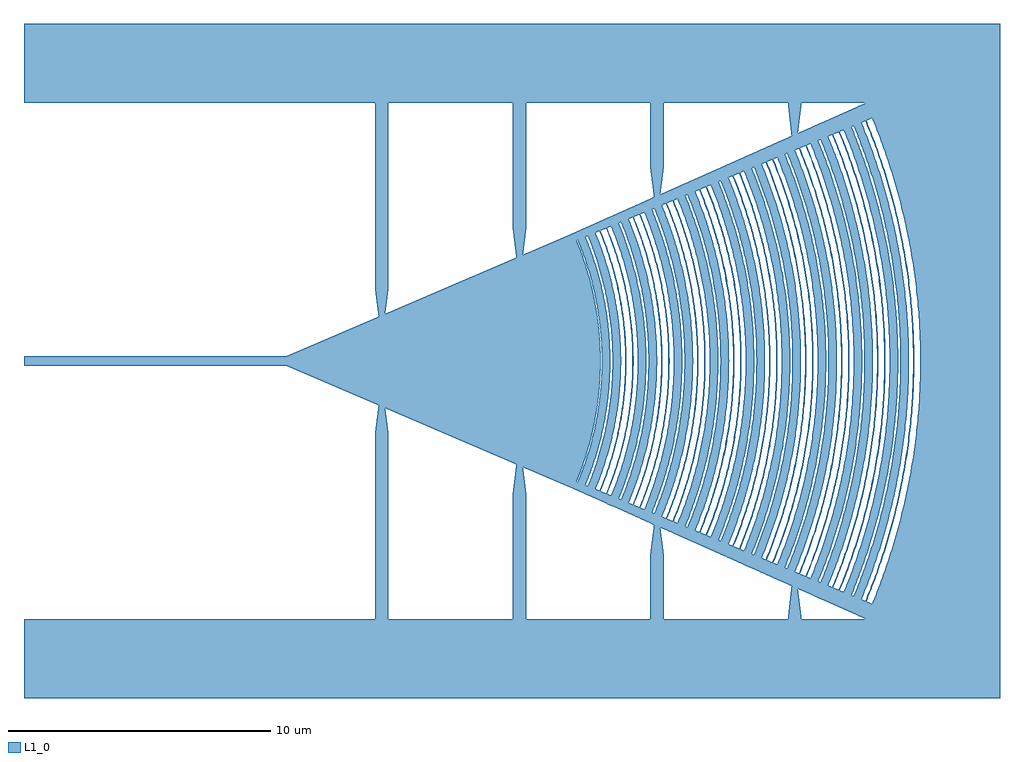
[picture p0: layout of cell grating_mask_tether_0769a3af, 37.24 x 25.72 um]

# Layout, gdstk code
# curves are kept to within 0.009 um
import gdstk
lib = gdstk.Library(unit=1e-6, precision=1e-09)
def R(c, l, rs):  # rectangles x0, y0, x1, y1
    for r in rs: c.add(gdstk.rectangle(r[:2], r[2:], *l))
def P(c, l, *ps):  # polygons
    for p in ps: c.add(gdstk.Polygon(p, *l))
L1_0 = (1, 0)

boolean_f78fcff5 = lib.new_cell('boolean_f78fcff5')
P(boolean_f78fcff5, L1_0, [(22.162,9.713),(22.64,8.54),(23.056,7.343),(23.409,6.127),(23.697,4.893),(23.921,3.646),(24.079,2.389),(24.171,1.126),(24.197,-0.141),(24.164,-1.266),(24.065,-2.529),(23.981,-3.228),(23.877,-3.924),(23.639,-5.168),(23.373,-6.263),(23.013,-7.477),(22.59,-8.671),(22.105,-9.842),(22.142,-9.858),(24.237,-9.858),(24.237,9.858),(22.142,9.858),(22.105,9.842)],
  [(21.948,-9.619),(22.218,-8.977),(22.421,-8.457),(22.612,-7.933),(22.833,-7.272),(23.035,-6.605),(23.182,-6.067),(23.349,-5.391),(23.468,-4.846),(23.599,-4.161),(23.668,-3.749),(23.767,-3.059),(23.846,-2.366),(23.905,-1.672),(23.937,-1.115),(23.959,-0.418),(23.963,0.139),(23.953,0.697),(23.914,1.532),(23.872,2.089),(23.817,2.643),(23.749,3.197),(23.646,3.886),(23.523,4.572),(23.41,5.118),(23.251,5.797),(23.11,6.337),(22.916,7.006),(22.747,7.537),(22.518,8.196),(22.321,8.718),(22.112,9.235),(21.891,9.747),(21.855,9.73),(22.128,9.091),(22.334,8.573),(22.574,7.92),(22.794,7.26),(22.918,6.861),(23.108,6.192),(23.278,5.517),(23.4,4.974),(23.535,4.291),(23.65,3.605),(23.727,3.053),(23.792,2.501),(23.854,1.808),(23.89,1.252),(23.913,0.696),(23.923,0),(23.913,-0.696),(23.89,-1.252),(23.854,-1.808),(23.792,-2.501),(23.727,-3.053),(23.65,-3.605),(23.535,-4.291),(23.428,-4.838),(23.31,-5.381),(23.178,-5.922),(22.996,-6.594),(22.836,-7.127),(22.709,-7.525),(22.432,-8.313),(22.181,-8.962),(21.855,-9.73),(21.891,-9.747)],
  [(21.763,-9.538),(22.232,-8.386),(22.467,-7.736),(22.682,-7.079),(22.987,-6.016),(23.121,-5.48),(23.298,-4.67),(23.49,-3.581),(23.645,-2.346),(23.735,-1.106),(23.761,0.138),(23.747,0.829),(23.713,1.52),(23.616,2.621),(23.469,3.717),(23.376,4.262),(23.213,5.075),(22.915,6.283),(22.598,7.343),(22.183,8.515),(21.707,9.665),(21.412,9.533),(21.68,8.906),(21.93,8.272),(22.161,7.631),(22.374,6.983),(22.604,6.198),(22.742,5.67),(22.926,4.873),(23.058,4.204),(23.229,3.127),(23.337,2.179),(23.413,1.091),(23.438,0.136),(23.419,-0.954),(23.349,-2.043),(23.229,-3.127),(23.082,-4.07),(22.954,-4.74),(22.806,-5.405),(22.64,-6.066),(22.414,-6.853),(22.205,-7.502),(21.978,-8.144),(21.68,-8.906),(21.412,-9.533),(21.707,-9.665)],
  [(21.385,-9.373),(21.847,-8.241),(22.248,-7.086),(22.588,-5.912),(22.867,-4.722),(23.018,-3.921),(23.103,-3.384),(23.235,-2.306),(23.324,-1.086),(23.349,0.136),(23.31,1.358),(23.207,2.576),(23.062,3.653),(22.839,4.855),(22.588,5.912),(22.248,7.086),(21.847,8.241),(21.598,8.873),(21.331,9.497),(21.035,9.366),(21.497,8.252),(21.772,7.497),(21.981,6.86),(22.171,6.218),(22.342,5.57),(22.495,4.918),(22.653,4.13),(22.838,2.939),(22.939,2.007),(22.995,1.205),(23.026,0.134),(23.007,-0.937),(22.95,-1.873),(22.855,-2.806),(22.699,-3.867),(22.577,-4.525),(22.436,-5.18),(22.242,-5.96),(22.059,-6.604),(21.815,-7.37),(21.591,-8.001),(21.35,-8.626),(21.035,-9.366),(21.331,-9.497)],
  [(20.942,-9.178),(21.2,-8.565),(21.393,-8.07),(21.619,-7.444),(21.786,-6.939),(21.942,-6.43),(22.12,-5.789),(22.279,-5.143),(22.392,-4.624),(22.494,-4.101),(22.583,-3.577),(22.678,-2.919),(22.753,-2.258),(22.809,-1.595),(22.84,-1.064),(22.861,-0.399),(22.864,0.133),(22.851,0.798),(22.826,1.33),(22.789,1.86),(22.725,2.522),(22.642,3.182),(22.562,3.708),(22.444,4.363),(22.337,4.884),(22.217,5.402),(22.051,6.046),(21.866,6.685),(21.704,7.192),(21.531,7.695),(21.346,8.194),(21.099,8.811),(20.888,9.3),(20.851,9.283),(21.062,8.796),(21.356,8.055),(21.581,7.431),(21.748,6.927),(21.903,6.419),(22.081,5.779),(22.209,5.264),(22.326,4.745),(22.43,4.225),(22.522,3.702),(22.602,3.177),(22.685,2.518),(22.749,1.857),(22.786,1.327),(22.811,0.797),(22.824,0.133),(22.821,-0.398),(22.8,-1.062),(22.769,-1.592),(22.713,-2.254),(22.638,-2.913),(22.564,-3.439),(22.478,-3.963),(22.353,-4.615),(22.209,-5.264),(22.081,-5.779),(21.94,-6.291),(21.788,-6.8),(21.581,-7.431),(21.356,-8.055),(21.062,-8.796),(20.851,-9.283),(20.888,-9.3)],
  [(20.69,-9.068),(20.896,-8.584),(21.137,-7.973),(21.316,-7.479),(21.525,-6.856),(21.715,-6.227),(21.854,-5.72),(21.951,-5.337),(22.097,-4.697),(22.224,-4.052),(22.312,-3.534),(22.422,-2.753),(22.48,-2.231),(22.526,-1.707),(22.566,-1.051),(22.587,-0.394),(22.59,0.131),(22.581,0.657),(22.552,1.314),(22.504,1.969),(22.452,2.492),(22.388,3.014),(22.312,3.534),(22.224,4.052),(22.097,4.697),(21.951,5.337),(21.786,5.974),(21.603,6.605),(21.444,7.106),(21.272,7.603),(21.09,8.096),(20.896,8.584),(20.637,9.188),(20.6,9.172),(20.858,8.569),(21.099,7.959),(21.278,7.466),(21.486,6.844),(21.64,6.342),(21.782,5.836),(21.912,5.328),(22.03,4.817),(22.136,4.303),(22.272,3.528),(22.366,2.878),(22.427,2.357),(22.486,1.704),(22.512,1.311),(22.541,0.656),(22.55,0.131),(22.547,-0.394),(22.526,-1.049),(22.486,-1.704),(22.44,-2.227),(22.398,-2.618),(22.312,-3.268),(22.23,-3.786),(22.136,-4.303),(22.03,-4.817),(21.912,-5.328),(21.782,-5.836),(21.565,-6.593),(21.364,-7.217),(21.099,-7.959),(20.858,-8.569),(20.6,-9.172),(20.637,-9.188)],
  [(20.506,-8.987),(20.948,-7.902),(21.169,-7.289),(21.372,-6.67),(21.692,-5.543),(21.926,-4.527),(22.133,-3.374),(22.222,-2.728),(22.292,-2.081),(22.37,-0.912),(22.388,0.13),(22.375,0.781),(22.343,1.432),(22.252,2.47),(22.071,3.759),(21.872,4.782),(21.626,5.795),(21.293,6.918),(20.948,7.902),(20.709,8.508),(20.453,9.106),(20.158,8.975),(20.646,7.788),(20.905,7.062),(21.063,6.574),(21.246,5.959),(21.441,5.214),(21.708,3.958),(21.851,3.071),(21.97,2.051),(22.042,1.027),(22.065,0.128),(22.042,-1.027),(21.958,-2.179),(21.814,-3.325),(21.61,-4.462),(21.471,-5.089),(21.314,-5.711),(20.986,-6.819),(20.6,-7.908),(20.158,-8.975),(20.453,-9.106)],
  [(20.128,-8.822),(20.517,-7.876),(20.737,-7.276),(20.94,-6.669),(21.16,-5.934),(21.324,-5.317),(21.548,-4.319),(21.744,-3.185),(21.869,-2.17),(21.953,-1.022),(21.976,0.128),(21.939,1.278),(21.856,2.297),(21.706,3.438),(21.496,4.569),(21.228,5.688),(20.901,6.791),(20.517,7.876),(20.076,8.939),(19.781,8.807),(20.077,8.112),(20.26,7.642),(20.474,7.05),(20.67,6.451),(20.815,5.969),(21.01,5.238),(21.154,4.625),(21.302,3.884),(21.443,3.014),(21.56,2.013),(21.624,1.133),(21.653,0.126),(21.63,-1.007),(21.548,-2.138),(21.406,-3.263),(21.206,-4.379),(21.07,-4.994),(20.916,-5.604),(20.594,-6.691),(20.215,-7.76),(19.781,-8.807),(20.076,-8.939)],
  [(19.684,-8.627),(19.927,-8.051),(20.153,-7.468),(20.321,-6.997),(20.516,-6.403),(20.659,-5.924),(20.792,-5.442),(20.913,-4.956),(21.048,-4.346),(21.187,-3.609),(21.265,-3.115),(21.332,-2.619),(21.387,-2.122),(21.44,-1.499),(21.469,-1),(21.489,-0.375),(21.492,0.125),(21.483,0.625),(21.456,1.25),(21.421,1.749),(21.361,2.371),(21.283,2.991),(21.187,3.609),(21.097,4.101),(20.996,4.591),(20.883,5.078),(20.727,5.683),(20.553,6.284),(20.401,6.76),(20.196,7.351),(20.019,7.819),(19.88,8.167),(19.634,8.742),(19.597,8.725),(19.795,8.267),(20.027,7.688),(20.242,7.102),(20.478,6.391),(20.621,5.913),(20.753,5.432),(20.902,4.826),(21.009,4.338),(21.104,3.848),(21.207,3.233),(21.292,2.614),(21.347,2.118),(21.381,1.745),(21.422,1.123),(21.443,0.624),(21.452,0),(21.443,-0.624),(21.422,-1.123),(21.381,-1.745),(21.347,-2.118),(21.292,-2.614),(21.207,-3.233),(21.104,-3.848),(21.009,-4.338),(20.902,-4.826),(20.753,-5.432),(20.621,-5.913),(20.478,-6.391),(20.242,-7.102),(20.027,-7.688),(19.795,-8.267),(19.597,-8.725),(19.634,-8.742)],
  [(19.433,-8.517),(19.626,-8.062),(19.852,-7.488),(20.062,-6.908),(20.217,-6.439),(20.396,-5.848),(20.495,-5.492),(20.646,-4.893),(20.754,-4.411),(20.851,-3.927),(20.975,-3.197),(21.044,-2.708),(21.114,-2.095),(21.166,-1.48),(21.195,-0.987),(21.212,-0.494),(21.218,0),(21.212,0.494),(21.195,0.987),(21.166,1.48),(21.114,2.095),(21.044,2.708),(20.975,3.197),(20.851,3.927),(20.754,4.411),(20.646,4.893),(20.495,5.492),(20.326,6.085),(20.179,6.557),(19.98,7.141),(19.764,7.719),(19.579,8.177),(19.383,8.63),(19.346,8.614),(19.589,8.047),(19.815,7.474),(20.024,6.895),(20.179,6.427),(20.323,5.956),(20.456,5.481),(20.578,5.004),(20.715,4.403),(20.834,3.799),(20.917,3.313),(20.988,2.825),(21.048,2.336),(21.097,1.846),(21.142,1.231),(21.172,0.493),(21.177,0.123),(21.172,-0.493),(21.16,-0.862),(21.126,-1.477),(21.074,-2.091),(21.02,-2.581),(20.936,-3.191),(20.856,-3.677),(20.74,-4.282),(20.635,-4.764),(20.518,-5.243),(20.391,-5.719),(20.216,-6.309),(20.024,-6.895),(19.815,-7.474),(19.589,-8.047),(19.346,-8.614),(19.383,-8.63)],
  [(19.248,-8.436),(19.62,-7.531),(19.831,-6.958),(20.025,-6.378),(20.331,-5.321),(20.582,-4.25),(20.776,-3.167),(20.901,-2.197),(20.987,-1.1),(21.016,0),(20.987,1.1),(20.901,2.197),(20.776,3.167),(20.582,4.25),(20.331,5.321),(20.025,6.378),(19.831,6.958),(19.62,7.531),(19.199,8.548),(18.904,8.417),(19.318,7.416),(19.68,6.394),(19.988,5.356),(20.241,4.302),(20.457,3.118),(20.592,2.043),(20.676,0.842),(20.693,0),(20.676,-0.842),(20.592,-2.043),(20.457,-3.118),(20.241,-4.302),(19.988,-5.356),(19.68,-6.394),(19.318,-7.416),(18.904,-8.417),(19.199,-8.548)],
  [(18.871,-8.271),(19.278,-7.272),(19.632,-6.253),(19.902,-5.333),(20.154,-4.284),(20.35,-3.223),(20.491,-2.154),(20.576,-1.078),(20.604,0),(20.576,1.078),(20.491,2.154),(20.35,3.223),(20.154,4.284),(19.902,5.333),(19.558,6.481),(19.192,7.496),(18.822,8.38),(18.527,8.249),(18.934,7.268),(19.288,6.267),(19.59,5.249),(19.838,4.217),(20.031,3.173),(20.17,2.12),(20.253,1.061),(20.281,0),(20.253,-1.061),(20.17,-2.12),(20.031,-3.173),(19.838,-4.217),(19.59,-5.249),(19.288,-6.267),(18.934,-7.268),(18.527,-8.249),(18.822,-8.38)],
  [(18.427,-8.076),(18.654,-7.537),(18.824,-7.101),(18.985,-6.661),(19.206,-5.994),(19.34,-5.546),(19.493,-4.981),(19.577,-4.64),(19.704,-4.068),(19.814,-3.494),(19.907,-2.916),(19.969,-2.452),(20.021,-1.987),(20.062,-1.52),(20.097,-0.936),(20.114,-0.468),(20.119,0.117),(20.111,0.585),(20.085,1.17),(20.062,1.52),(20.009,2.103),(19.939,2.684),(19.853,3.263),(19.75,3.839),(19.68,4.183),(19.55,4.754),(19.434,5.207),(19.274,5.77),(19.098,6.328),(18.946,6.771),(18.741,7.319),(18.52,7.861),(18.38,8.183),(18.343,8.167),(18.573,7.63),(18.787,7.086),(18.947,6.647),(19.132,6.094),(19.269,5.647),(19.395,5.197),(19.483,4.857),(19.616,4.289),(19.732,3.717),(19.832,3.141),(19.915,2.563),(19.969,2.099),(20.022,1.517),(20.052,1.051),(20.071,0.584),(20.079,0.117),(20.071,-0.584),(20.052,-1.051),(20.022,-1.517),(19.981,-1.983),(19.915,-2.563),(19.85,-3.026),(19.774,-3.487),(19.687,-3.946),(19.616,-4.289),(19.483,-4.857),(19.333,-5.422),(19.202,-5.871),(19.023,-6.426),(18.828,-6.977),(18.573,-7.63),(18.343,-8.167),(18.38,-8.183)],
  [(18.176,-7.966),(18.4,-7.434),(18.568,-7.004),(18.764,-6.461),(18.909,-6.022),(19.044,-5.581),(19.169,-5.136),(19.31,-4.577),(19.435,-4.013),(19.523,-3.56),(19.618,-2.99),(19.697,-2.419),(19.748,-1.959),(19.788,-1.499),(19.818,-1.039),(19.833,-0.693),(19.845,0),(19.833,0.693),(19.818,1.039),(19.779,1.614),(19.724,2.189),(19.652,2.762),(19.582,3.218),(19.502,3.673),(19.387,4.239),(19.283,4.689),(19.108,5.359),(18.978,5.802),(18.838,6.242),(18.726,6.57),(18.527,7.112),(18.312,7.648),(18.129,8.072),(18.092,8.055),(18.319,7.526),(18.53,6.99),(18.726,6.448),(18.871,6.01),(18.973,5.68),(19.13,5.126),(19.271,4.567),(19.396,4.005),(19.504,3.439),(19.579,2.984),(19.643,2.528),(19.708,1.955),(19.748,1.496),(19.783,0.921),(19.802,0.346),(19.805,0),(19.802,-0.346),(19.783,-0.921),(19.748,-1.496),(19.708,-1.955),(19.643,-2.528),(19.579,-2.984),(19.504,-3.439),(19.396,-4.005),(19.323,-4.343),(19.188,-4.903),(19.1,-5.237),(18.973,-5.68),(18.763,-6.339),(18.53,-6.99),(18.319,-7.526),(18.092,-8.055),(18.129,-8.072)],
  [(17.991,-7.885),(18.379,-6.933),(18.682,-6.07),(18.974,-5.084),(19.214,-4.084),(19.419,-2.96),(19.547,-1.94),(19.622,-0.914),(19.643,0.114),(19.61,1.142),(19.523,2.167),(19.383,3.186),(19.19,4.196),(18.974,5.084),(18.682,6.07),(18.379,6.933),(17.945,7.99),(17.65,7.858),(18.077,6.819),(18.409,5.863),(18.662,5),(18.898,4.017),(19.082,3.022),(19.214,2.02),(19.294,1.011),(19.32,0.112),(19.294,-1.011),(19.226,-1.908),(19.082,-3.022),(18.898,-4.017),(18.662,-5),(18.409,-5.863),(18.077,-6.819),(17.65,-7.858),(17.945,-7.99)],
  [(17.614,-7.72),(17.994,-6.787),(18.358,-5.73),(18.632,-4.761),(18.834,-3.889),(18.994,-3.008),(19.126,-2.01),(19.205,-1.006),(19.231,0.112),(19.205,1.006),(19.126,2.01),(18.994,3.008),(18.811,3.998),(18.576,4.977),(18.29,5.943),(17.954,6.892),(17.568,7.822),(17.273,7.691),(17.613,6.879),(17.983,5.843),(18.264,4.894),(18.472,4.039),(18.658,3.066),(18.793,2.086),(18.876,1.099),(18.908,0.11),(18.888,-0.88),(18.805,-1.976),(18.658,-3.066),(18.495,-3.931),(18.264,-4.894),(17.983,-5.843),(17.613,-6.879),(17.273,-7.691),(17.568,-7.822)],
  [(17.17,-7.525),(17.299,-7.224),(17.54,-6.616),(17.653,-6.309),(17.829,-5.793),(17.99,-5.272),(18.108,-4.852),(18.216,-4.429),(18.337,-3.898),(18.442,-3.363),(18.516,-2.933),(18.579,-2.501),(18.644,-1.959),(18.693,-1.417),(18.721,-0.981),(18.739,-0.545),(18.746,0.109),(18.739,0.545),(18.715,1.09),(18.693,1.417),(18.644,1.959),(18.579,2.501),(18.516,2.933),(18.442,3.363),(18.337,3.898),(18.216,4.429),(18.108,4.852),(17.99,5.272),(17.829,5.793),(17.653,6.309),(17.462,6.82),(17.299,7.224),(17.126,7.625),(17.089,7.608),(17.303,7.108),(17.503,6.602),(17.687,6.09),(17.857,5.573),(17.982,5.156),(18.097,4.736),(18.227,4.208),(18.32,3.783),(18.403,3.355),(18.493,2.819),(18.567,2.28),(18.604,1.955),(18.653,1.413),(18.675,1.088),(18.695,0.653),(18.706,0.109),(18.701,-0.435),(18.681,-0.979),(18.653,-1.413),(18.615,-1.847),(18.567,-2.28),(18.493,-2.819),(18.403,-3.355),(18.32,-3.783),(18.151,-4.526),(17.982,-5.156),(17.889,-5.469),(17.687,-6.09),(17.503,-6.602),(17.303,-7.108),(17.089,-7.608),(17.126,-7.625)],
  [(16.919,-7.415),(17.127,-6.92),(17.321,-6.419),(17.466,-6.014),(17.601,-5.606),(17.757,-5.092),(17.897,-4.573),(18.023,-4.051),(18.112,-3.63),(18.21,-3.102),(18.277,-2.677),(18.321,-2.358),(18.382,-1.824),(18.411,-1.503),(18.447,-0.967),(18.467,-0.43),(18.472,0.107),(18.461,0.645),(18.447,0.967),(18.411,1.503),(18.371,1.931),(18.321,2.358),(18.245,2.89),(18.153,3.419),(18.046,3.946),(17.949,4.364),(17.815,4.885),(17.665,5.401),(17.535,5.81),(17.395,6.217),(17.245,6.62),(17.087,7.019),(16.875,7.513),(16.838,7.497),(16.967,7.202),(17.208,6.605),(17.393,6.102),(17.563,5.594),(17.688,5.184),(17.804,4.771),(17.91,4.355),(18.007,3.937),(18.073,3.622),(18.188,2.989),(18.253,2.565),(18.331,1.927),(18.371,1.5),(18.407,0.965),(18.421,0.643),(18.432,0.107),(18.427,-0.429),(18.412,-0.858),(18.387,-1.286),(18.342,-1.82),(18.281,-2.353),(18.222,-2.777),(18.152,-3.201),(18.073,-3.622),(17.91,-4.355),(17.804,-4.771),(17.658,-5.286),(17.428,-6.001),(17.246,-6.505),(17.09,-6.905),(16.838,-7.497),(16.875,-7.513)],
  [(16.734,-7.334),(17.095,-6.448),(17.409,-5.545),(17.702,-4.523),(17.893,-3.695),(18.062,-2.753),(18.181,-1.804),(18.251,-0.85),(18.27,0.106),(18.233,1.168),(18.159,2.015),(18.011,3.068),(17.849,3.903),(17.648,4.729),(17.343,5.747),(17.057,6.548),(16.691,7.431),(16.396,7.3),(16.718,6.529),(17.069,5.546),(17.309,4.746),(17.533,3.834),(17.71,2.911),(17.838,1.98),(17.911,1.148),(17.947,0.104),(17.933,-0.731),(17.86,-1.772),(17.758,-2.601),(17.577,-3.629),(17.363,-4.544),(17.101,-5.447),(16.755,-6.432),(16.396,-7.3),(16.691,-7.431)],
  [(16.356,-7.169),(16.709,-6.303),(17.016,-5.42),(17.25,-4.622),(17.468,-3.713),(17.622,-2.896),(17.761,-1.867),(17.834,-0.935),(17.858,0.104),(17.834,0.935),(17.761,1.867),(17.622,2.896),(17.468,3.713),(17.25,4.622),(16.984,5.519),(16.635,6.497),(16.314,7.264),(16.019,7.132),(16.371,6.284),(16.677,5.419),(16.938,4.538),(17.131,3.746),(17.303,2.844),(17.417,2.036),(17.506,1.02),(17.535,0.102),(17.521,-0.714),(17.45,-1.731),(17.335,-2.642),(17.173,-3.546),(16.964,-4.44),(16.677,-5.419),(16.371,-6.284),(16.019,-7.132),(16.314,-7.264)],
  [(15.913,-6.974),(16.109,-6.508),(16.256,-6.132),(16.46,-5.561),(16.585,-5.176),(16.701,-4.789),(16.808,-4.399),(16.905,-4.007),(17.015,-3.513),(17.092,-3.116),(17.16,-2.718),(17.232,-2.218),(17.279,-1.816),(17.324,-1.313),(17.35,-0.909),(17.369,-0.404),(17.374,0),(17.369,0.404),(17.35,0.909),(17.324,1.313),(17.279,1.816),(17.232,2.218),(17.144,2.818),(17.055,3.315),(16.973,3.711),(16.882,4.105),(16.782,4.497),(16.615,5.08),(16.492,5.465),(16.394,5.752),(16.22,6.226),(16.032,6.695),(15.872,7.067),(15.835,7.05),(16.033,6.587),(16.254,6.023),(16.422,5.548),(16.576,5.068),(16.769,4.389),(16.843,4.096),(16.976,3.505),(17.07,3.01),(17.136,2.612),(17.192,2.212),(17.239,1.812),(17.284,1.31),(17.31,0.907),(17.329,0.403),(17.334,0),(17.329,-0.403),(17.31,-0.907),(17.284,-1.31),(17.239,-1.812),(17.192,-2.212),(17.136,-2.612),(17.07,-3.01),(16.976,-3.505),(16.843,-4.096),(16.769,-4.389),(16.576,-5.068),(16.422,-5.548),(16.254,-6.023),(16.033,-6.587),(15.835,-7.05),(15.872,-7.067)],
  [(15.661,-6.864),(15.817,-6.498),(15.964,-6.128),(16.168,-5.567),(16.293,-5.189),(16.409,-4.809),(16.517,-4.426),(16.615,-4.04),(16.726,-3.555),(16.804,-3.165),(16.889,-2.675),(16.96,-2.183),(17.006,-1.787),(17.058,-1.193),(17.081,-0.796),(17.095,-0.398),(17.099,0.1),(17.095,0.398),(17.076,0.895),(17.043,1.391),(17.006,1.787),(16.96,2.183),(16.889,2.675),(16.804,3.165),(16.726,3.555),(16.615,4.04),(16.517,4.426),(16.409,4.809),(16.293,5.189),(16.168,5.567),(15.964,6.128),(15.779,6.59),(15.621,6.955),(15.584,6.939),(15.78,6.482),(15.961,6.021),(16.13,5.554),(16.285,5.083),(16.452,4.511),(16.553,4.127),(16.707,3.45),(16.783,3.06),(16.849,2.669),(16.92,2.178),(16.966,1.783),(17.003,1.388),(17.036,0.893),(17.055,0.397),(17.059,0.099),(17.057,-0.298),(17.041,-0.794),(17.018,-1.19),(16.976,-1.684),(16.92,-2.178),(16.879,-2.472),(16.817,-2.864),(16.727,-3.352),(16.666,-3.644),(16.553,-4.127),(16.452,-4.511),(16.343,-4.893),(16.162,-5.46),(15.996,-5.928),(15.78,-6.482),(15.584,-6.939),(15.621,-6.955)],
  [(15.476,-6.783),(15.845,-5.872),(16.101,-5.128),(16.372,-4.183),(16.549,-3.417),(16.705,-2.546),(16.815,-1.669),(16.884,-0.688),(16.898,0),(16.884,0.688),(16.815,1.669),(16.705,2.546),(16.549,3.417),(16.322,4.373),(16.071,5.222),(15.775,6.056),(15.436,6.873),(15.142,6.741),(15.474,5.94),(15.793,5.03),(16.035,4.197),(16.232,3.352),(16.371,2.593),(16.494,1.637),(16.557,0.771),(16.575,0),(16.557,-0.771),(16.494,-1.637),(16.371,-2.593),(16.232,-3.352),(16.035,-4.197),(15.793,-5.03),(15.474,-5.94),(15.142,-6.741),(15.437,-6.873)],
  [(15.099,-6.618),(15.425,-5.818),(15.737,-4.912),(15.924,-4.267),(16.145,-3.334),(16.312,-2.389),(16.405,-1.628),(16.468,-0.767),(16.486,0),(16.468,0.767),(16.405,1.628),(16.312,2.389),(16.145,3.334),(15.924,4.267),(15.679,5.094),(15.391,5.908),(15.06,6.705),(14.765,6.574),(15.123,5.704),(15.372,4.995),(15.612,4.183),(15.79,3.452),(15.949,2.621),(16.064,1.783),(16.135,0.94),(16.163,0),(16.135,-0.94),(16.064,-1.783),(15.949,-2.621),(15.79,-3.452),(15.612,-4.183),(15.372,-4.995),(15.123,-5.704),(14.765,-6.574),(15.06,-6.705)],
  [(14.655,-6.423),(14.905,-5.821),(15.068,-5.385),(15.218,-4.945),(15.329,-4.589),(15.48,-4.051),(15.612,-3.509),(15.689,-3.145),(15.774,-2.687),(15.832,-2.319),(15.882,-1.95),(15.932,-1.487),(15.984,-0.745),(15.999,-0.279),(16.001,0.093),(15.988,0.652),(15.974,0.93),(15.932,1.487),(15.893,1.858),(15.832,2.319),(15.774,2.687),(15.707,3.053),(15.632,3.418),(15.548,3.781),(15.456,4.141),(15.329,4.589),(15.218,4.945),(15.068,5.385),(14.905,5.821),(14.618,6.508),(14.581,6.492),(14.764,6.065),(14.934,5.633),(15.061,5.284),(15.236,4.755),(15.343,4.399),(15.441,4.041),(15.531,3.681),(15.631,3.228),(15.702,2.863),(15.779,2.405),(15.842,1.945),(15.883,1.576),(15.922,1.113),(15.944,0.743),(15.961,0.093),(15.96,-0.186),(15.944,-0.743),(15.892,-1.484),(15.842,-1.945),(15.779,-2.405),(15.65,-3.137),(15.593,-3.409),(15.487,-3.861),(15.317,-4.489),(15.18,-4.932),(15.03,-5.372),(14.799,-5.979),(14.581,-6.492),(14.618,-6.508)],
  [(14.404,-6.313),(14.547,-5.976),(14.715,-5.55),(14.87,-5.12),(14.985,-4.773),(15.092,-4.423),(15.191,-4.07),(15.303,-3.627),(15.402,-3.18),(15.519,-2.55),(15.574,-2.189),(15.641,-1.644),(15.682,-1.188),(15.71,-0.732),(15.727,0),(15.71,0.732),(15.682,1.188),(15.641,1.644),(15.574,2.189),(15.519,2.55),(15.472,2.821),(15.383,3.27),(15.303,3.627),(15.191,4.07),(15.066,4.511),(14.957,4.86),(14.84,5.206),(14.682,5.636),(14.512,6.061),(14.367,6.397),(14.33,6.38),(14.51,5.961),(14.645,5.621),(14.772,5.279),(14.947,4.761),(15.079,4.324),(15.152,4.06),(15.264,3.618),(15.344,3.261),(15.416,2.904),(15.479,2.544),(15.534,2.183),(15.601,1.64),(15.642,1.185),(15.67,0.73),(15.686,0.091),(15.684,-0.274),(15.67,-0.73),(15.619,-1.458),(15.57,-1.912),(15.521,-2.274),(15.464,-2.634),(15.381,-3.083),(15.305,-3.44),(15.221,-3.795),(15.104,-4.236),(15.001,-4.586),(14.832,-5.107),(14.709,-5.451),(14.51,-5.961),(14.33,-6.38),(14.367,-6.397)],
  [(14.219,-6.232),(14.494,-5.564),(14.765,-4.798),(14.996,-4.018),(15.186,-3.228),(15.334,-2.429),(15.44,-1.623),(15.504,-0.812),(15.525,0.09),(15.499,0.903),(15.44,1.623),(15.334,2.429),(15.186,3.228),(14.996,4.018),(14.765,4.798),(14.494,5.564),(14.183,6.315),(13.888,6.183),(14.224,5.365),(14.458,4.698),(14.684,3.935),(14.87,3.161),(15.015,2.378),(15.119,1.589),(15.186,0.707),(15.202,0.088),(15.186,-0.707),(15.128,-1.501),(15.015,-2.378),(14.87,-3.161),(14.684,-3.935),(14.458,-4.698),(14.224,-5.365),(13.888,-6.183),(14.183,-6.315)],
  [(13.842,-6.067),(14.202,-5.169),(14.427,-4.503),(14.62,-3.827),(14.801,-3.056),(14.927,-2.364),(15.048,-1.405),(15.104,-0.527),(15.113,0.088),(15.082,0.966),(15.021,1.667),(14.913,2.451),(14.783,3.142),(14.575,3.996),(14.346,4.754),(14.109,5.416),(13.806,6.147),(13.511,6.016),(13.808,5.3),(14.066,4.57),(14.241,3.994),(14.449,3.159),(14.608,2.314),(14.7,1.632),(14.76,0.946),(14.79,0.086),(14.77,-0.774),(14.718,-1.46),(14.608,-2.314),(14.467,-3.075),(14.286,-3.828),(14.066,-4.57),(13.808,-5.3),(13.511,-6.016),(13.806,-6.147)],
  [(13.398,-5.872),(13.657,-5.242),(13.886,-4.601),(14.014,-4.195),(14.108,-3.868),(14.194,-3.539),(14.309,-3.041),(14.435,-2.372),(14.509,-1.867),(14.557,-1.444),(14.593,-1.02),(14.616,-0.596),(14.628,0.085),(14.622,0.426),(14.604,0.851),(14.573,1.275),(14.539,1.614),(14.486,2.036),(14.435,2.372),(14.375,2.708),(14.291,3.125),(14.194,3.539),(14.108,3.868),(14.014,4.195),(13.886,4.601),(13.657,5.242),(13.531,5.559),(13.364,5.95),(13.327,5.934),(13.526,5.465),(13.679,5.069),(13.821,4.669),(13.951,4.265),(14.134,3.612),(14.287,2.95),(14.352,2.617),(14.422,2.198),(14.469,1.862),(14.517,1.44),(14.564,0.848),(14.582,0.424),(14.588,0.085),(14.586,-0.255),(14.576,-0.594),(14.553,-1.018),(14.517,-1.44),(14.469,-1.862),(14.422,-2.198),(14.304,-2.867),(14.155,-3.529),(14.069,-3.858),(13.951,-4.265),(13.821,-4.669),(13.679,-5.069),(13.526,-5.465),(13.327,-5.934),(13.364,-5.95)],
  [(13.147,-5.762),(13.401,-5.144),(13.545,-4.752),(13.702,-4.277),(13.821,-3.876),(13.928,-3.472),(14.005,-3.147),(14.074,-2.821),(14.136,-2.493),(14.19,-2.163),(14.237,-1.832),(14.284,-1.417),(14.325,-0.918),(14.342,-0.584),(14.354,0.084),(14.348,0.418),(14.325,0.918),(14.292,1.334),(14.257,1.666),(14.164,2.328),(14.106,2.657),(14.023,3.066),(13.865,3.715),(13.775,4.037),(13.651,4.436),(13.545,4.752),(13.401,5.144),(13.245,5.532),(13.113,5.838),(13.076,5.822),(13.272,5.362),(13.393,5.052),(13.507,4.739),(13.664,4.264),(13.782,3.865),(13.889,3.463),(14.018,2.895),(14.082,2.568),(14.138,2.239),(14.197,1.827),(14.244,1.413),(14.29,0.832),(14.308,0.416),(14.314,0.083),(14.302,-0.583),(14.285,-0.915),(14.252,-1.33),(14.217,-1.662),(14.163,-2.075),(14.111,-2.404),(14.035,-2.813),(13.889,-3.463),(13.782,-3.865),(13.688,-4.185),(13.561,-4.581),(13.393,-5.052),(13.272,-5.362),(13.076,-5.822),(13.113,-5.838)],
  [(12.962,-5.681),(13.183,-5.149),(13.485,-4.295),(13.712,-3.504),(13.86,-2.862),(13.991,-2.133),(14.075,-1.479),(14.133,-0.741),(14.152,0.082),(14.133,0.741),(14.057,1.643),(13.965,2.295),(13.826,3.023),(13.67,3.663),(13.434,4.452),(13.183,5.149),(12.929,5.756),(12.634,5.625),(12.882,5.031),(13.102,4.426),(13.337,3.657),(13.493,3.033),(13.633,2.322),(13.736,1.606),(13.806,0.804),(13.829,0.081),(13.818,-0.563),(13.762,-1.366),(13.695,-1.925),(13.56,-2.718),(13.399,-3.424),(13.177,-4.197),(12.911,-4.956),(12.634,-5.625),(12.929,-5.756)],
  [(12.585,-5.516),(12.828,-4.924),(13.068,-4.246),(13.272,-3.556),(13.44,-2.857),(13.571,-2.149),(13.665,-1.436),(13.729,-0.559),(13.74,0.08),(13.717,0.799),(13.665,1.436),(13.571,2.149),(13.44,2.857),(13.272,3.556),(13.068,4.246),(12.828,4.924),(12.552,5.589),(12.257,5.457),(12.498,4.881),(12.736,4.22),(12.94,3.548),(13.108,2.866),(13.24,2.176),(13.327,1.558),(13.395,0.78),(13.417,0.078),(13.403,-0.624),(13.352,-1.325),(13.276,-1.945),(13.124,-2.79),(12.94,-3.548),(12.736,-4.22),(12.498,-4.881),(12.257,-5.457),(12.552,-5.589)],
  [(12.141,-5.321),(12.29,-4.966),(12.43,-4.606),(12.583,-4.17),(12.654,-3.949),(12.824,-3.356),(12.916,-2.982),(12.982,-2.681),(13.041,-2.378),(13.116,-1.921),(13.191,-1.309),(13.218,-1.002),(13.245,-0.54),(13.256,0),(13.245,0.54),(13.218,1.002),(13.191,1.309),(13.116,1.921),(13.041,2.378),(12.982,2.681),(12.916,2.982),(12.824,3.356),(12.721,3.728),(12.607,4.096),(12.403,4.678),(12.232,5.108),(12.11,5.392),(12.073,5.375),(12.253,4.951),(12.392,4.592),(12.545,4.157),(12.638,3.864),(12.785,3.346),(12.927,2.748),(13.001,2.371),(13.053,2.067),(13.135,1.458),(13.172,1.075),(13.193,0.768),(13.215,0.154),(13.215,-0.154),(13.205,-0.538),(13.172,-1.075),(13.135,-1.458),(13.087,-1.839),(13.028,-2.219),(12.973,-2.522),(12.911,-2.823),(12.823,-3.197),(12.682,-3.717),(12.569,-4.084),(12.445,-4.448),(12.282,-4.879),(12.073,-5.375),(12.11,-5.392)],
  [(11.889,-5.211),(11.979,-5.003),(12.146,-4.582),(12.249,-4.298),(12.369,-3.94),(12.539,-3.36),(12.614,-3.067),(12.698,-2.699),(12.771,-2.328),(12.833,-1.956),(12.885,-1.582),(12.918,-1.282),(12.95,-0.906),(12.971,-0.529),(12.981,0.075),(12.971,0.529),(12.955,0.83),(12.932,1.131),(12.894,1.507),(12.855,1.807),(12.797,2.18),(12.698,2.699),(12.614,3.067),(12.539,3.36),(12.436,3.723),(12.346,4.011),(12.224,4.369),(12.092,4.723),(11.859,5.28),(11.822,5.264),(11.999,4.848),(12.135,4.497),(12.284,4.071),(12.376,3.784),(12.557,3.131),(12.674,2.617),(12.718,2.395),(12.805,1.876),(12.878,1.278),(12.91,0.903),(12.927,0.602),(12.941,0.075),(12.938,-0.301),(12.927,-0.602),(12.91,-0.903),(12.878,-1.278),(12.805,-1.876),(12.689,-2.543),(12.557,-3.131),(12.376,-3.784),(12.284,-4.071),(12.135,-4.497),(11.999,-4.848),(11.822,-5.264),(11.859,-5.28)],
  [(11.705,-5.13),(11.931,-4.58),(12.177,-3.878),(12.382,-3.164),(12.516,-2.584),(12.634,-1.926),(12.717,-1.262),(12.766,-0.595),(12.779,0.149),(12.758,0.743),(12.702,1.41),(12.598,2.146),(12.485,2.73),(12.325,3.379),(12.131,4.02),(11.931,4.58),(11.675,5.198),(11.38,5.067),(11.603,4.532),(11.847,3.849),(12.051,3.154),(12.169,2.661),(12.292,2.02),(12.381,1.374),(12.431,0.797),(12.456,0.145),(12.449,-0.435),(12.403,-1.158),(12.325,-1.805),(12.214,-2.448),(12.069,-3.084),(11.891,-3.711),(11.655,-4.396),(11.38,-5.067),(11.675,-5.198)],
  [(11.327,-4.965),(11.572,-4.365),(11.806,-3.685),(11.965,-3.131),(12.112,-2.501),(12.237,-1.792),(12.314,-1.15),(12.36,-0.432),(12.367,0.144),(12.347,0.719),(12.284,1.436),(12.18,2.148),(12.067,2.712),(11.908,3.34),(11.74,3.89),(11.572,4.365),(11.298,5.03),(11.003,4.899),(11.245,4.316),(11.455,3.722),(11.616,3.185),(11.767,2.573),(11.885,1.953),(11.971,1.329),(12.032,0.56),(12.045,0),(12.032,-0.56),(11.971,-1.329),(11.885,-1.953),(11.767,-2.573),(11.616,-3.185),(11.455,-3.722),(11.245,-4.316),(11.003,-4.899),(11.298,-5.03)],
  [(-10,-0.175),(0,-0.175),(10.963,-4.881),(11.203,-4.3),(11.413,-3.708),(11.564,-3.207),(11.738,-2.495),(11.868,-1.774),(11.945,-1.15),(11.989,-0.523),(12,0.105),(11.978,0.733),(11.923,1.358),(11.818,2.084),(11.716,2.597),(11.564,3.207),(11.413,3.708),(11.203,4.3),(10.963,4.881),(0,0.175),(-10,0.175)])

ring_a08c6431_transform_ = lib.new_cell('ring_a08c6431_transform_13e5a9d1')
P(ring_a08c6431_transform_, L1_0, [(22.142,-9.171),(0,0),(22.142,-9.858)],
  [(22.142,-9.858),(22.392,-9.277),(22.142,-9.171)])

c_ring_a08c6431_transform_ = lib.new_cell('ring_a08c6431_transform_5204c8a0')
P(c_ring_a08c6431_transform_, L1_0, [(22.142,9.171),(22.142,9.858),(0,0)],
  [(22.392,9.275),(22.142,9.858),(22.142,9.171)])

skeleton_b1a79422 = lib.new_cell('skeleton_b1a79422')
skeleton_b1a79422.add(gdstk.Reference(ring_a08c6431_transform_, (0,0)))
skeleton_b1a79422.add(gdstk.Reference(c_ring_a08c6431_transform_, (0,0)))

c__tether_straight_length_ = lib.new_cell('_tether_straight_length_957a58e7')
R(c__tether_straight_length_, L1_0, [(3.404,2.727,3.904,9.858)])
P(c__tether_straight_length_, L1_0, [(3.754,1.527),(3.904,2.727),(3.404,2.727),(3.554,1.527)])

c__tether_straight_length__ = lib.new_cell('_tether_straight_length_cbdb43ba')
R(c__tether_straight_length__, L1_0, [(3.404,-9.858,3.904,-2.727)])
P(c__tether_straight_length__, L1_0, [(3.554,-1.527),(3.404,-2.727),(3.904,-2.727),(3.754,-1.527)])

c__tether_straight_length___ = lib.new_cell('_tether_straight_length_675d1972')
R(c__tether_straight_length___, L1_0, [(8.653,5.064,9.153,9.858)])
P(c__tether_straight_length___, L1_0, [(9.003,3.864),(9.153,5.064),(8.653,5.064),(8.803,3.864)])

c__tether_straight_length____ = lib.new_cell('_tether_straight_length_7893c2d1')
R(c__tether_straight_length____, L1_0, [(8.653,-9.858,9.153,-5.064)])
P(c__tether_straight_length____, L1_0, [(8.803,-3.864),(8.653,-5.064),(9.153,-5.064),(9.003,-3.864)])

c__tether_straight_length_____ = lib.new_cell('_tether_straight_length_2f45fd2f')
R(c__tether_straight_length_____, L1_0, [(13.902,7.401,14.402,9.858)])
P(c__tether_straight_length_____, L1_0, [(14.252,6.201),(14.402,7.401),(13.902,7.401),(14.052,6.201)])

c__tether_straight_length______ = lib.new_cell('_tether_straight_length_aad45de5')
R(c__tether_straight_length______, L1_0, [(13.902,-9.858,14.402,-7.401)])
P(c__tether_straight_length______, L1_0, [(14.052,-6.201),(13.902,-7.401),(14.402,-7.401),(14.252,-6.201)])

c__tether_straight_length_______ = lib.new_cell('_tether_straight_length_cefc5c0c')
R(c__tether_straight_length_______, L1_0, [(19.151,9.738,19.651,9.858)])
P(c__tether_straight_length_______, L1_0, [(19.501,8.538),(19.651,9.738),(19.151,9.738),(19.301,8.538)])

c__tether_straight_length________ = lib.new_cell('_tether_straight_length_686f1d87')
R(c__tether_straight_length________, L1_0, [(19.151,-9.858,19.651,-9.738)])
P(c__tether_straight_length________, L1_0, [(19.301,-8.538),(19.151,-9.738),(19.651,-9.738),(19.501,-8.538)])

section_tether_824e9da6 = lib.new_cell('section_tether_824e9da6')
section_tether_824e9da6.add(gdstk.Reference(skeleton_b1a79422, (0,0)))
section_tether_824e9da6.add(gdstk.Reference(c__tether_straight_length_, (0,0)))
section_tether_824e9da6.add(gdstk.Reference(c__tether_straight_length__, (0,0)))
section_tether_824e9da6.add(gdstk.Reference(c__tether_straight_length___, (0,0)))
section_tether_824e9da6.add(gdstk.Reference(c__tether_straight_length____, (0,0)))
section_tether_824e9da6.add(gdstk.Reference(c__tether_straight_length_____, (0,0)))
section_tether_824e9da6.add(gdstk.Reference(c__tether_straight_length______, (0,0)))
section_tether_824e9da6.add(gdstk.Reference(c__tether_straight_length_______, (0,0)))
section_tether_824e9da6.add(gdstk.Reference(c__tether_straight_length________, (0,0)))

boolean_833fc63e = lib.new_cell('boolean_833fc63e')
P(boolean_833fc63e, L1_0, [(27.237,-12.858),(27.237,12.858),(-10,12.858),(-10,9.858),(24.237,9.858),(24.237,-9.858),(-10,-9.858),(-10,-12.858)])

grating_mask_tether_0769 = lib.new_cell('grating_mask_tether_0769a3af')
grating_mask_tether_0769.add(gdstk.Reference(boolean_f78fcff5, (0,0)))
grating_mask_tether_0769.add(gdstk.Reference(section_tether_824e9da6, (0,0)))
grating_mask_tether_0769.add(gdstk.Reference(boolean_833fc63e, (0,0)))

lib.write_gds('grating_mask_tether_0769a3af.gds')
